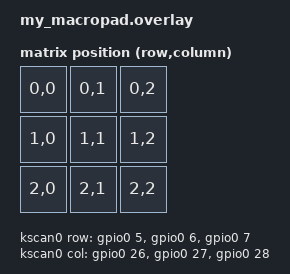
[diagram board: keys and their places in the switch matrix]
/*
 * Copyright (c) 2024 The ZMK Contributors
 *
 * SPDX-License-Identifier: MIT
 */

#include <dt-bindings/zmk/matrix_transform.h>

/ {
    chosen {
        zmk,kscan = &kscan0;
        zmk,matrix-transform = &default_transform;
    };

    default_transform: keymap_transform_0 {
        compatible = "zmk,matrix-transform";
        columns = <3>;
        rows = <3>;
        map = <
            RC(0,0) RC(0,1) RC(0,2)
            RC(1,0) RC(1,1) RC(1,2)
            RC(2,0) RC(2,1) RC(2,2)
        >;
    };

    kscan0: kscan {
        compatible = "zmk,kscan-gpio-matrix";
        wakeup-source;

        diode-direction = "col2row";

        row-gpios
            = <&gpio0 5 (GPIO_ACTIVE_HIGH | GPIO_PULL_DOWN)>
            , <&gpio0 6 (GPIO_ACTIVE_HIGH | GPIO_PULL_DOWN)>
            , <&gpio0 7 (GPIO_ACTIVE_HIGH | GPIO_PULL_DOWN)>
            ;

        col-gpios
            = <&gpio0 26 GPIO_ACTIVE_HIGH>
            , <&gpio0 27 GPIO_ACTIVE_HIGH>
            , <&gpio0 28 GPIO_ACTIVE_HIGH>
            ;
    };
};
